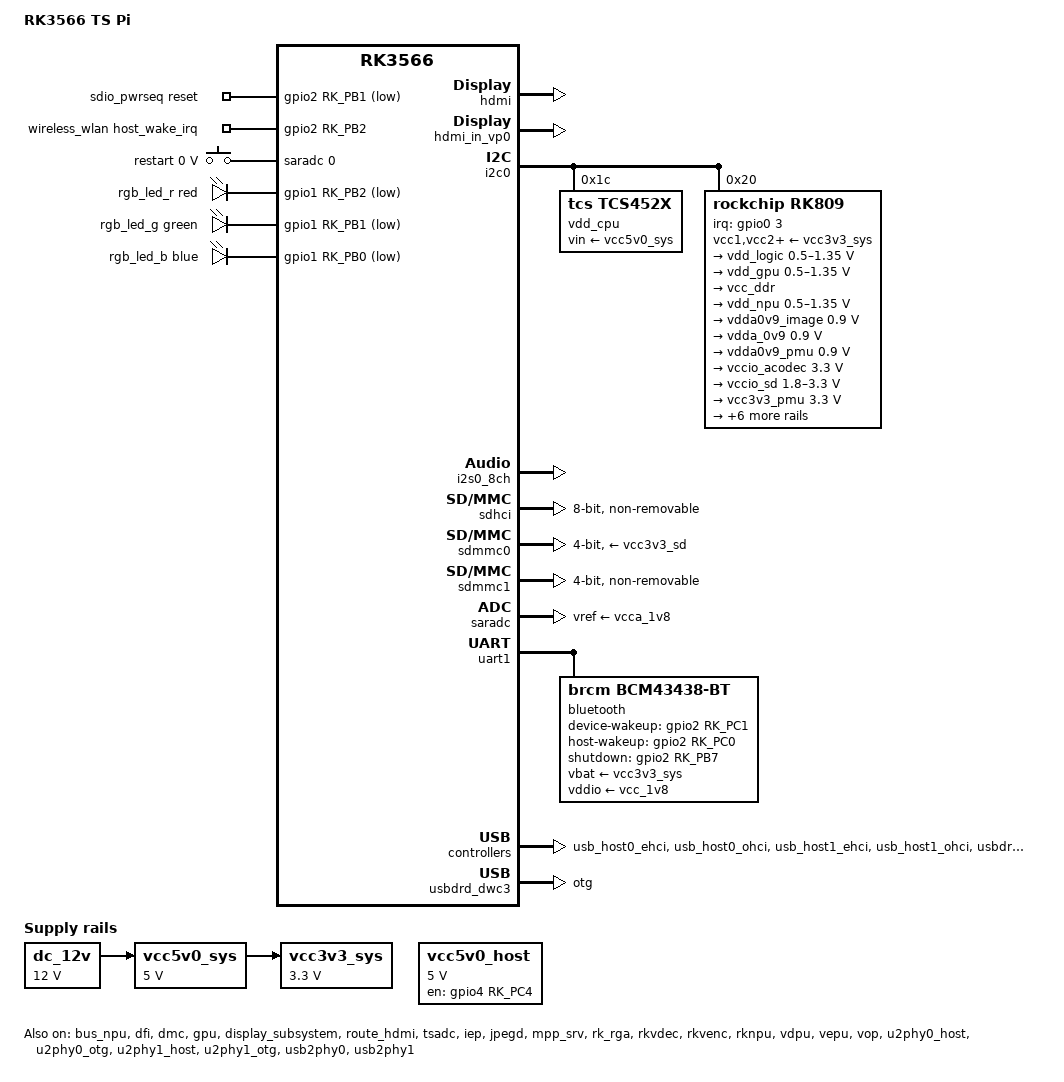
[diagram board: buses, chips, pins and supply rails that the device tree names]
/dts-v1/;
#include <dt-bindings/gpio/gpio.h>
#include <dt-bindings/leds/common.h>
#include <dt-bindings/input/rk-input.h>
#include <dt-bindings/display/rockchip_vop.h>
#include "rk3566.dtsi"

/ {
	model = "RK3566 TS Pi";
	compatible = "rockchip,rk3566-tspi", "rockchip,rk3566";

	chosen: chosen {
		stdout-path = &uart2;
		u-boot,spl-boot-order = &sdmmc0, &sdhci;
	};

	aliases: aliases {
		mmc0 = &sdhci;
		mmc1 = &sdmmc0;
	};

	fiq_debugger: fiq-debugger {
		compatible = "rockchip,fiq-debugger";
		rockchip,serial-id = <2>;
		rockchip,wake-irq = <0>;
		rockchip,irq-mode-enable = <1>;
		rockchip,baudrate = <1500000>;
		interrupts = <GIC_SPI 252 IRQ_TYPE_LEVEL_LOW>;
		pinctrl-names = "default";
		pinctrl-0 = <&uart2m0_xfer>;
		status = "okay";
	};

	dc_12v: dc-12v {
		compatible = "regulator-fixed";
		regulator-name = "dc_12v";
		regulator-min-microvolt = <12000000>;
		regulator-max-microvolt = <12000000>;
		regulator-always-on;
		regulator-boot-on;
	};

	vcc5v0_sys: vcc5v0-sys {
		compatible = "regulator-fixed";
		regulator-name = "vcc5v0_sys";
		regulator-min-microvolt = <5000000>;
		regulator-max-microvolt = <5000000>;
		regulator-always-on;
		regulator-boot-on;
		vin-supply = <&dc_12v>;
	};

	vcc3v3_sys: vcc3v3-sys {
		compatible = "regulator-fixed";
		regulator-name = "vcc3v3_sys";
		regulator-min-microvolt = <3300000>;
		regulator-max-microvolt = <3300000>;
		regulator-always-on;
		regulator-boot-on;
		vin-supply = <&vcc5v0_sys>;
	};

	vcc5v0_host: vcc5v0-host {
		compatible = "regulator-fixed";
		regulator-name = "vcc5v0_host";
		gpio = <&gpio4 RK_PC4 GPIO_ACTIVE_HIGH>;
		regulator-min-microvolt = <5000000>;
		regulator-max-microvolt = <5000000>;
		regulator-always-on;
		enable-active-high;
		regulator-boot-on;
	};

	sdio_pwrseq: sdio-pwrseq {
		compatible = "mmc-pwrseq-simple";
		clocks = <&rk809 1>;
		clock-names = "ext_clock";
		post-power-on-delay-ms = <200>;
		reset-gpios = <&gpio2 RK_PB1 GPIO_ACTIVE_LOW>;
	};

	wireless_wlan: wireless-wlan {
		compatible = "wlan-platdata";
		WIFI,host_wake_irq = <&gpio2 RK_PB2 GPIO_ACTIVE_HIGH>;
		rockchip,grf = <&grf>;
		wifi_chip_type = "ap6212";
		status = "okay";
	};

    hdmi_sound: hdmi-sound {
		compatible = "simple-audio-card";
		simple-audio-card,format = "i2s";
		simple-audio-card,mclk-fs = <128>;
		simple-audio-card,name = "rockchip,hdmi";
		status = "okay";

		simple-audio-card,cpu {
				sound-dai = <&i2s0_8ch>;
		};
		simple-audio-card,codec {
				sound-dai = <&hdmi>;
		};
	};

	adc_keys: adc-keys {
		compatible = "adc-keys";
		io-channels = <&saradc 0>;
		io-channel-names = "buttons";
		keyup-threshold-microvolt = <1800000>;
		poll-interval = <100>;

		restart-key {
			label = "restart";
			linux,code = <KEY_RESTART>;
			press-threshold-microvolt = <108>;
		};
	};

	leds: leds {
		compatible = "gpio-leds";

		rgb_led_r: rgb-led-r {
			gpios = <&gpio1 RK_PB2 GPIO_ACTIVE_LOW>;
			function = LED_FUNCTION_HEARTBEAT;
			color = <LED_COLOR_ID_RED>;
			linux,default-trigger = "heartbeat";
		};

		rgb_led_g: rgb-led-g {
			gpios = <&gpio1 RK_PB1 GPIO_ACTIVE_LOW>;
			function = LED_FUNCTION_POWER;
			color = <LED_COLOR_ID_GREEN>;
			linux,default-trigger = "default-on";
		};
		
		rgb_led_b: rgb-led-b {
			gpios = <&gpio1 RK_PB0 GPIO_ACTIVE_LOW>;
			function = LED_FUNCTION_ACTIVITY;
			color = <LED_COLOR_ID_BLUE>;
			linux,default-trigger = "activity";
		};
	};
};

&bus_npu {
	bus-supply = <&vdd_logic>;
	pvtm-supply = <&vdd_cpu>;
	status = "okay";
};

&cpu0 {
	cpu-supply = <&vdd_cpu>;
};

&cpu1 {
	cpu-supply = <&vdd_cpu>;
};

&cpu2 {
	cpu-supply = <&vdd_cpu>;
};

&cpu3 {
	cpu-supply = <&vdd_cpu>;
};

&dfi {
	status = "okay";
};

&dmc {
	center-supply = <&vdd_logic>;
	status = "okay";
};

&gpu {
	clock-names = "gpu", "bus";
	interrupt-names = "gpu", "mmu", "job";
	mali-supply = <&vdd_gpu>;
	status = "okay";
};

&display_subsystem {
	status = "okay";
};

&hdmi {
	status = "okay";
};

&hdmi_in_vp0 {
	status = "okay";
};

&hdmi_sound {
	status = "okay";
};

&route_hdmi {
	connect = <&vp0_out_hdmi>;
	status = "okay";
};

&i2c0 {
	status = "okay";

	vdd_cpu: tcs4525@1c {
		compatible = "tcs,tcs452x";
		reg = <0x1c>;
		vin-supply = <&vcc5v0_sys>;
		regulator-compatible = "fan53555-reg";
		regulator-name = "vdd_cpu";
		regulator-min-microvolt = <712500>;
		regulator-max-microvolt = <1390000>;
		regulator-init-microvolt = <900000>;
		regulator-ramp-delay = <2300>;
		fcs,suspend-voltage-selector = <1>;
		regulator-boot-on;
		regulator-always-on;
		regulator-state-mem {
			regulator-off-in-suspend;
		};
	};

	rk809: pmic@20 {
		compatible = "rockchip,rk809";
		reg = <0x20>;
		interrupt-parent = <&gpio0>;
		interrupts = <3 IRQ_TYPE_LEVEL_LOW>;

		rockchip,system-power-controller;
		wakeup-source;
		#clock-cells = <1>;
		clock-output-names = "rk808-clkout1", "rk808-clkout2";
		pmic-reset-func = <0>;
		not-save-power-en = <1>;

		vcc1-supply = <&vcc3v3_sys>;
		vcc2-supply = <&vcc3v3_sys>;
		vcc3-supply = <&vcc3v3_sys>;
		vcc4-supply = <&vcc3v3_sys>;
		vcc5-supply = <&vcc3v3_sys>;
		vcc6-supply = <&vcc3v3_sys>;
		vcc7-supply = <&vcc3v3_sys>;
		vcc8-supply = <&vcc3v3_sys>;
		vcc9-supply = <&vcc3v3_sys>;

		pwrkey {
			status = "okay";
		};

		regulators {
			vdd_logic: DCDC_REG1 {
				regulator-always-on;
				regulator-boot-on;
				regulator-min-microvolt = <500000>;
				regulator-max-microvolt = <1350000>;
				regulator-init-microvolt = <900000>;
				regulator-ramp-delay = <6001>;
				regulator-initial-mode = <0x2>;
				regulator-name = "vdd_logic";
				regulator-state-mem {
					regulator-off-in-suspend;
				};
			};

			vdd_gpu: DCDC_REG2 {
				regulator-always-on;
				regulator-boot-on;
				regulator-min-microvolt = <500000>;
				regulator-max-microvolt = <1350000>;
				regulator-init-microvolt = <900000>;
				regulator-ramp-delay = <6001>;
				regulator-initial-mode = <0x2>;
				regulator-name = "vdd_gpu";
				regulator-state-mem {
					regulator-off-in-suspend;
				};
			};

			vcc_ddr: DCDC_REG3 {
				regulator-always-on;
				regulator-boot-on;
				regulator-initial-mode = <0x2>;
				regulator-name = "vcc_ddr";
				regulator-state-mem {
					regulator-on-in-suspend;
				};
			};

			vdd_npu: DCDC_REG4 {
				regulator-always-on;
				regulator-boot-on;
				regulator-min-microvolt = <500000>;
				regulator-max-microvolt = <1350000>;
				regulator-init-microvolt = <900000>;
				regulator-ramp-delay = <6001>;
				regulator-initial-mode = <0x2>;
				regulator-name = "vdd_npu";
				regulator-state-mem {
					regulator-off-in-suspend;
				};
			};

			vdda0v9_image: LDO_REG1 {
				regulator-boot-on;
				regulator-always-on;
				regulator-min-microvolt = <900000>;
				regulator-max-microvolt = <900000>;
				regulator-name = "vdda0v9_image";
				regulator-state-mem {
					regulator-off-in-suspend;
				};
			};

			vdda_0v9: LDO_REG2 {
				regulator-always-on;
				regulator-boot-on;
				regulator-min-microvolt = <900000>;
				regulator-max-microvolt = <900000>;
				regulator-name = "vdda_0v9";
				regulator-state-mem {
					regulator-off-in-suspend;
				};
			};

			vdda0v9_pmu: LDO_REG3 {
				regulator-always-on;
				regulator-boot-on;
				regulator-min-microvolt = <900000>;
				regulator-max-microvolt = <900000>;
				regulator-name = "vdda0v9_pmu";
				regulator-state-mem {
					regulator-on-in-suspend;
					regulator-suspend-microvolt = <900000>;
				};
			};

			vccio_acodec: LDO_REG4 {
				regulator-always-on;
				regulator-boot-on;
				regulator-min-microvolt = <3300000>;
				regulator-max-microvolt = <3300000>;
				regulator-name = "vccio_acodec";
				regulator-state-mem {
					regulator-off-in-suspend;
				};
			};

			vccio_sd: LDO_REG5 {
				regulator-always-on;
				regulator-boot-on;
				regulator-min-microvolt = <1800000>;
				regulator-max-microvolt = <3300000>;
				regulator-name = "vccio_sd";
				regulator-state-mem {
					regulator-off-in-suspend;
				};
			};

			vcc3v3_pmu: LDO_REG6 {
				regulator-always-on;
				regulator-boot-on;
				regulator-min-microvolt = <3300000>;
				regulator-max-microvolt = <3300000>;
				regulator-name = "vcc3v3_pmu";
				regulator-state-mem {
					regulator-on-in-suspend;
					regulator-suspend-microvolt = <3300000>;
				};
			};

			vcca_1v8: LDO_REG7 {
				regulator-always-on;
				regulator-boot-on;
				regulator-min-microvolt = <1800000>;
				regulator-max-microvolt = <1800000>;
				regulator-name = "vcca_1v8";
				regulator-state-mem {
					regulator-off-in-suspend;
				};
			};

			vcca1v8_pmu: LDO_REG8 {
				regulator-always-on;
				regulator-boot-on;
				regulator-min-microvolt = <1800000>;
				regulator-max-microvolt = <1800000>;
				regulator-name = "vcca1v8_pmu";
				regulator-state-mem {
					regulator-on-in-suspend;
					regulator-suspend-microvolt = <1800000>;
				};
			};

			vcca1v8_image: LDO_REG9 {
				regulator-always-on;
				regulator-boot-on;
				regulator-min-microvolt = <1800000>;
				regulator-max-microvolt = <1800000>;
				regulator-name = "vcca1v8_image";
				regulator-state-mem {
					regulator-off-in-suspend;
				};
			};

			vcc_1v8: DCDC_REG5 {
				regulator-always-on;
				regulator-boot-on;
				regulator-min-microvolt = <1800000>;
				regulator-max-microvolt = <1800000>;
				regulator-name = "vcc_1v8";
				regulator-state-mem {
					regulator-off-in-suspend;
				};
			};

			vcc_3v3: SWITCH_REG1 {
				regulator-always-on;
				regulator-boot-on;
				regulator-name = "vcc_3v3";
				regulator-state-mem {
					regulator-off-in-suspend;
				};
			};

			vcc3v3_sd: SWITCH_REG2 {
				regulator-always-on;
				regulator-boot-on;
				regulator-name = "vcc3v3_sd";
				regulator-state-mem {
					regulator-off-in-suspend;
				};
			};
		};

		rk809_codec: codec {
			#sound-dai-cells = <0>;
			compatible = "rockchip,rk809-codec", "rockchip,rk817-codec";
			clocks = <&cru I2S1_MCLKOUT>;
			clock-names = "mclk";
			assigned-clocks = <&cru I2S1_MCLKOUT>, <&cru I2S1_MCLK_TX_IOE>;
			assigned-clock-rates = <12288000>;
			assigned-clock-parents = <&cru I2S1_MCLKOUT_TX>, <&cru I2S1_MCLKOUT_TX>;
			pinctrl-names = "default";
			pinctrl-0 = <&i2s1m0_mclk>;
			hp-volume = <20>;
			spk-volume = <3>;
			mic-in-differential;
			status = "okay";
		};
	};
};

&i2s0_8ch {
	status = "okay";
};

&pmu_io_domains {
	pmuio2-supply = <&vcc3v3_pmu>;
	vccio1-supply = <&vccio_acodec>;
	vccio3-supply = <&vccio_sd>;
	vccio4-supply = <&vcc_1v8>;
	vccio5-supply = <&vcc_3v3>;
	vccio6-supply = <&vcc_1v8>;
	vccio7-supply = <&vcc_3v3>;
	status = "okay";
};

&sdhci {
	bus-width = <8>;
	supports-emmc;
	non-removable;
	max-frequency = <200000000>;
	status = "okay";
};

&sdmmc0 {
	max-frequency = <150000000>;
	supports-sd;
	bus-width = <4>;
	cap-mmc-highspeed;
	cap-sd-highspeed;
	disable-wp;
	sd-uhs-sdr104;
	vmmc-supply = <&vcc3v3_sd>;
	vqmmc-supply = <&vccio_sd>;
	pinctrl-names = "default";
	pinctrl-0 = <&sdmmc0_bus4 &sdmmc0_clk &sdmmc0_cmd &sdmmc0_det>;
	status = "okay";
};

&sdmmc1 {
	max-frequency = <150000000>;
	supports-sdio;
	bus-width = <4>;
	disable-wp;
	cap-sd-highspeed;
	cap-sdio-irq;
	keep-power-in-suspend;
	mmc-pwrseq = <&sdio_pwrseq>;
	non-removable;
	pinctrl-names = "default";
	pinctrl-0 = <&sdmmc1_bus4 &sdmmc1_cmd &sdmmc1_clk>;
	sd-uhs-sdr104;
	status = "okay";
};

&tsadc {
	rockchip,hw-tshut-mode = <1>;
	rockchip,hw-tshut-polarity = <0>;
	status = "okay";
};

&saradc {
	vref-supply = <&vcca_1v8>;
	status = "okay";
};

&uart1 {
	status = "okay";
	pinctrl-names = "default";
	pinctrl-0 = <&uart1m0_xfer &uart1m0_ctsn &uart1m0_rtsn>;

	bluetooth {
		compatible = "brcm,bcm43438-bt";
		clocks = <&rk809 1>;
		clock-names = "ext_clock";
		device-wakeup-gpios = <&gpio2 RK_PC1 GPIO_ACTIVE_HIGH>;
		host-wakeup-gpios = <&gpio2 RK_PC0 GPIO_ACTIVE_HIGH>;
		shutdown-gpios = <&gpio2 RK_PB7 GPIO_ACTIVE_HIGH>;
		max-speed = <1500000>;
		vbat-supply = <&vcc3v3_sys>;
		vddio-supply = <&vcc_1v8>;
	};
};

&uart2 {
	status = "disabled";
};

&iep {
	status = "okay";
};

&iep_mmu {
	status = "okay";
};

&jpegd {
	status = "okay";
};

&jpegd_mmu {
	status = "okay";
};

&mpp_srv {
	status = "okay";
};

&rk_rga {
	status = "okay";
};

&rkvdec {
	status = "okay";
};

&rkvdec_mmu {
	status = "okay";
};

&rkvenc {
	venc-supply = <&vdd_logic>;
	status = "okay";
};

&rkvenc_mmu {
	status = "okay";
};

&rknpu {
	rknpu-supply = <&vdd_npu>;
	status = "okay";
};

&rknpu_mmu {
	status = "okay";
};

&vdpu {
	status = "okay";
};

&vdpu_mmu {
	status = "okay";
};

&vepu {
	status = "okay";
};

&vepu_mmu {
	status = "okay";
};

&vop {
	assigned-clocks = <&cru DCLK_VOP0>, <&cru DCLK_VOP1>;
	assigned-clock-parents = <&pmucru PLL_HPLL>, <&cru PLL_VPLL>;
	status = "okay";
};

&vop_mmu {
	status = "okay";
};

&vp0 {
	rockchip,plane-mask = <(1 << ROCKCHIP_VOP2_CLUSTER0 | 1 << ROCKCHIP_VOP2_ESMART0)>;
	rockchip,primary-plane = <ROCKCHIP_VOP2_ESMART0>;
};

&u2phy0_host {
	phy-supply = <&vcc5v0_host>;
	status = "okay";
};

&u2phy0_otg {
	status = "okay";
};

&u2phy1_host {
	phy-supply = <&vcc5v0_host>;
	status = "okay";
};

&u2phy1_otg {
	phy-supply = <&vcc5v0_host>;
	status = "okay";
};

&usb2phy0 {
	status = "okay";
};

&usb2phy1 {
	status = "okay";
};

&usb_host0_ehci {
	status = "okay";
};

&usb_host0_ohci {
	status = "okay";
};

&usb_host1_ehci {
	status = "okay";
};

&usb_host1_ohci {
	status = "okay";
};

&usbdrd_dwc3 {
	dr_mode = "otg";
	extcon = <&usb2phy0>;
	status = "okay";
};

&usbdrd30 {
	status = "okay";
};

&usbhost_dwc3 {
	status = "okay";
};

&usbhost30 {
	status = "okay";
};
